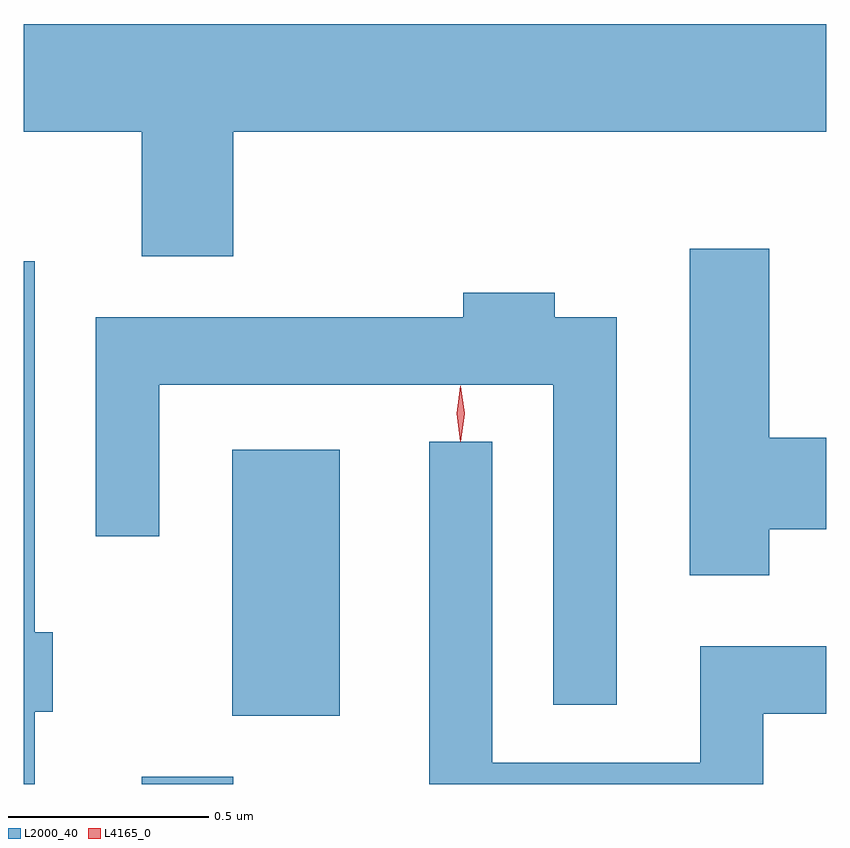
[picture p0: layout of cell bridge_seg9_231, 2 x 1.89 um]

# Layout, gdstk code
import gdstk
lib = gdstk.Library(unit=1e-6, precision=1e-09)
def R(c, l, rs):  # rectangles x0, y0, x1, y1
    for r in rs: c.add(gdstk.rectangle(r[:2], r[2:], *l))
def P(c, l, *ps):  # polygons
    for p in ps: c.add(gdstk.Polygon(p, *l))
L2000_40 = (2000, 40)
L4165_0 = (4165, 0)

bridge_seg9_231 = lib.new_cell('bridge_seg9_231')
R(bridge_seg9_231, L2000_40, [(1491.171,2003.511,1491.399,2003.529), (1491.396,2003.681,1491.664,2004.344)])
P(bridge_seg9_231, L2000_40, [(1491.399,2005.136),(1492.876,2005.136),(1492.876,2005.404),(1490.876,2005.404),(1490.876,2005.136),(1491.171,2005.136),(1491.171,2004.826),(1491.399,2004.826)],
  [(1492.734,2004.146),(1492.876,2004.146),(1492.876,2004.374),(1492.734,2004.374),(1492.734,2004.844),(1492.536,2004.844),(1492.536,2004.031),(1492.734,2004.031)],
  [(1490.904,2003.691),(1490.949,2003.691),(1490.949,2003.889),(1490.904,2003.889),(1490.904,2004.813),(1490.876,2004.813),(1490.876,2003.511),(1490.904,2003.511)],
  [(1492.354,2004.674),(1492.199,2004.674),(1492.199,2004.734),(1491.971,2004.734),(1491.971,2004.674),(1491.056,2004.674),(1491.056,2004.128),(1491.214,2004.128),(1491.214,2004.506),(1492.196,2004.506),(1492.196,2003.708),(1492.354,2003.708)],
  [(1492.719,2003.686),(1492.876,2003.686),(1492.876,2003.854),(1492.561,2003.854),(1492.561,2003.564),(1492.044,2003.564),(1492.044,2004.363),(1491.886,2004.363),(1491.886,2003.511),(1492.719,2003.511)])
P(bridge_seg9_231, L4165_0, [(1491.964,2004.367),(1491.955,2004.434),(1491.964,2004.5),(1491.965,2004.501),(1491.965,2004.5),(1491.975,2004.434),(1491.965,2004.367),(1491.965,2004.367)],
  [(1491.964,2004.364),(1491.955,2004.433),(1491.964,2004.502),(1491.965,2004.503),(1491.965,2004.502),(1491.975,2004.433),(1491.965,2004.364),(1491.965,2004.364)])

lib.write_gds('bridge_seg9_231.gds')
